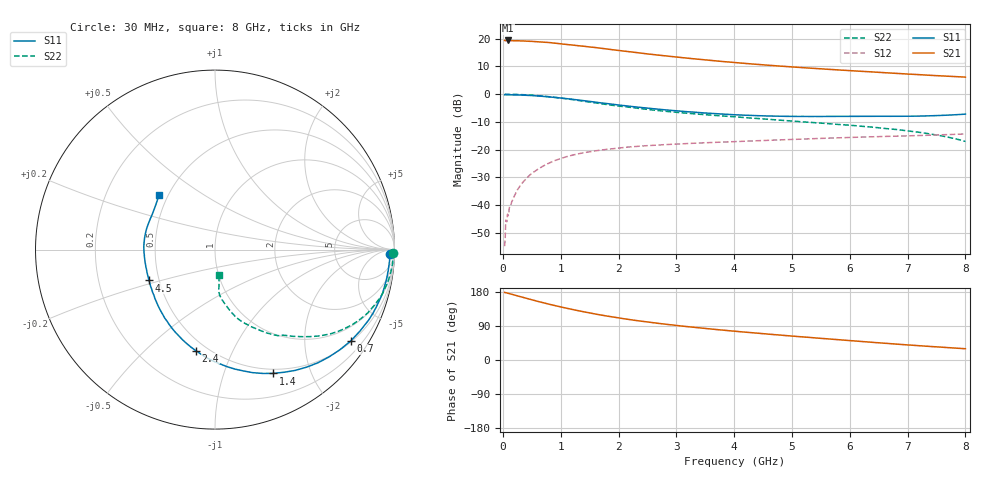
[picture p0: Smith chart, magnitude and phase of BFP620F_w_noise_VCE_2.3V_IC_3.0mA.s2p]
! Infineon Technologies  Discrete & RF Semiconductors
! BFP620F
! VCE =  2.3 V,  IC =  3.0 mA
! Common Emitter S-Parameters:  Dec 2014
# GHz  S  MA  R  50
!  f  S11  S21  S12  S22
! GHz  MAG  ANG  MAG  ANG  MAG  ANG  MAG  ANG
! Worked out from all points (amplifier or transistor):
!   95 points, 30 MHz to 8 GHz, reference 50 ohm
!   highest |S21| = 19.4 dB at 90 MHz (marker M1)
!   |S21| within 3 dB of that: start of sweep to 1.768 GHz
!   unconditionally stable (mu >= 1): 5.96 GHz to end of sweep
!   at 300 MHz: K = 0.04, MSG = 26.2 dB, |S12| = -33.1 dB
!   at 3.3 GHz: K = 0.69, MSG = 15.2 dB, |S12| = -17.7 dB
!   at 8 GHz: K = 1.16, MAG = 7.9 dB, |S12| = -14.4 dB
!   lowest NFmin = 0.51 dB at 450 MHz
!   S11 on the Smith chart (normalised r, x): 30 MHz: 41, -38; 700 MHz: 0.53, -3.19; 1.4 GHz: 0.45, -1.48; 2.4 GHz: 0.44, -0.73; 4.5 GHz: 0.44, -0.18; 8 GHz: 0.45, +0.33
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0.03  0.9738 -1.4  9.314 178.3  0.0018 72.8  0.9939 -1.0
0.04  0.9746 -1.9  9.219 177.8  0.0025 75.0  0.9937 -1.3
0.05  0.9761 -2.5  9.256 177.6  0.0053 80.7  0.9951 -1.7
0.09  0.9732 -4.4  9.315 176.0  0.0064 77.9  0.994 -3.0
0.12  0.9727 -5.9  9.292 174.8  0.0095 83.2  0.9927 -3.9
0.35  0.9587 -17.2  9.119 165.2  0.026 79.5  0.9765 -11.5
0.6  0.9266 -29.3  8.818 154.8  0.0438 73.4  0.9389 -19.5
0.7  0.9114 -34.0  8.676 151.1  0.0505 70.9  0.9207 -22.6
0.8  0.8917 -38.8  8.546 147.2  0.057 68.0  0.8981 -25.5
1  0.852 -47.8  8.105 140.1  0.0687 63.0  0.8491 -31.0
1.2  0.8074 -56.5  7.706 133.4  0.079 58.2  0.7974 -36.0
1.4  0.7618 -64.9  7.323 127.2  0.0877 54.1  0.7456 -40.3
1.6  0.7169 -73.0  6.939 121.3  0.0947 50.6  0.6952 -44.3
1.9  0.6569 -83.9  6.326 113.6  0.1034 45.9  0.6279 -49.8
2.4  0.573 -100.8  5.486 102.3  0.1156 39.9  0.5453 -58.3
2.7  0.5335 -109.9  5.053 96.5  0.1206 37.2  0.5034 -61.9
3.4  0.4643 -128.8  4.25 84.8  0.1311 32.4  0.4334 -69.0
4.1  0.4209 -145.7  3.651 74.7  0.1401 29.1  0.3833 -73.6
4.5  0.4058 -154.9  3.382 69.5  0.1454 27.7  0.3573 -75.6
5.4  0.3955 -173.9  2.908 58.3  0.1575 24.4  0.305 -79.9
6.7  0.3981 160.5  2.406 43.2  0.1733 19.8  0.2353 -84.7
8  0.4355 136.1  2.031 29.7  0.1909 16.0  0.1404 -81.7
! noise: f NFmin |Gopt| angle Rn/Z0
0.45  0.51  0.54  10  0.3
0.9  0.6  0.52  20  0.26
1.5  0.69  0.47  29  0.25
1.8  0.73  0.45  32  0.25
1.9  0.74  0.4  43  0.26
2.4  0.81  0.37  57  0.24
3.5  0.96  0.35  80  0.18
5.5  1.2  0.23  149  0.15
6  1.26  0.19  163  0.29
